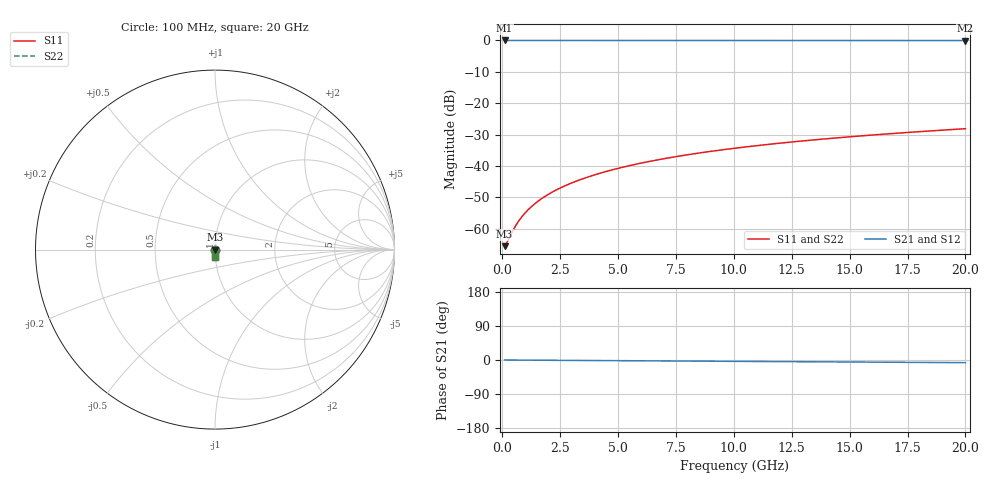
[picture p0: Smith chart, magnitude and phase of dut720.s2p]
! Touchstone file exported from HFSS 2026.1.0
!  File:  C:/ffzhzh/LocalFiles/Ansys_Project_Files/temp_train_TSV_720_1783182267_18472.aedt
!  Generated:  12:25:54 AM Jul  5, 2026
!  Design:  TSV
!  Project:  temp_train_TSV_720_1783182267_18472
! Variables:
!  h_bsmrdl = 2um
!  h_ox = 20um
!  h_rdl = 5um
!  h_sub = 72.73um
!  h_tmrdl = 5um
!  h_tsv = 72.73um
!  h_via = 3um
!  l_bsmrdl = 300um
!  l_sub = 408.38um
!  l_tmrdl = 200um
!  m_sub = 200um
!  pitch = 12.57um
!  r_tsv = 4.19um
!  s_tmrdl = 10um
!  w_bsmrdl = 18um
!  w_sub = 500um
!  w_tmrdl = 12um
!  x_tsv_center1 = 206um
!  x_tsv_center2 = 524um
!  x_tsv_center3 = 736um
!  x_tsv_center4 = 1054um
!  x_tsv_center5 = 1266um
!  x_tsv_center6 = 1584um
# GHz S MA R 50.000000
! Terminal data exported
! Port[1] = TSV1_1_T1
! Port[2] = TSV1_1_T2
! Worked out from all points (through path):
!   200 points, 100 MHz to 20 GHz, reference 50 ohm
!   highest |S21| = 0.00 dB at 100 MHz (marker M1); lowest = 0.0 dB at 20 GHz (marker M2)
!   lowest |S11| = -65.5 dB at 100 MHz (marker M3), VSWR 1.00, Z = 50.1 - j0.0128 ohm
!   |S11| at or under -10 dB: start of sweep to end of sweep
!   |S22| runs from -65.5 to -28.1 dB; largest |S21 - S12| = 3e-15
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0.1  0.0005302 -14.0  0.9995 -0.0  0.9995 -0.0  0.0005302 -14.0
! Gamma 0 0 0 0
! Port Impedance 50 0 50 0
0.2  0.0006084 -26.5  0.9995 -0.1  0.9995 -0.1  0.0006084 -26.5
0.5  0.001003 -51.4  0.9994 -0.2  0.9994 -0.2  0.001003 -51.4
0.7  0.001319 -60.2  0.9993 -0.3  0.9993 -0.3  0.001319 -60.2
0.8  0.001483 -63.2  0.9993 -0.3  0.9993 -0.3  0.001483 -63.2
1  0.001819 -67.8  0.9993 -0.4  0.9993 -0.4  0.001819 -67.8
1.3  0.002334 -72.2  0.9993 -0.5  0.9993 -0.5  0.002334 -72.2
1.5  0.002683 -74.2  0.9992 -0.5  0.9992 -0.5  0.002683 -74.2
1.7  0.003035 -75.7  0.9992 -0.6  0.9992 -0.6  0.003035 -75.7
2.2  0.003928 -78.3  0.9991 -0.8  0.9991 -0.8  0.003928 -78.3
2.8  0.005021 -80.2  0.999 -1.0  0.999 -1.0  0.005021 -80.2
3.5  0.006323 -81.6  0.9989 -1.3  0.9989 -1.3  0.006323 -81.6
4.2  0.007651 -82.6  0.9988 -1.5  0.9988 -1.5  0.007651 -82.6
5  0.009195 -83.5  0.9986 -1.8  0.9986 -1.8  0.009195 -83.5
5.9  0.01096 -84.4  0.9985 -2.1  0.9985 -2.1  0.01096 -84.4
6.8  0.01274 -85.2  0.9983 -2.4  0.9983 -2.4  0.01274 -85.2
8.3  0.01573 -86.4  0.9981 -3.0  0.9981 -3.0  0.01573 -86.4
10.1  0.01935 -87.6  0.9978 -3.6  0.9978 -3.6  0.01935 -87.6
11.7  0.02257 -88.6  0.9976 -4.1  0.9976 -4.1  0.02257 -88.6
13.4  0.02599 -89.6  0.9974 -4.7  0.9974 -4.7  0.02599 -89.6
16.7  0.03265 -91.3  0.9969 -5.9  0.9969 -5.9  0.03265 -91.3
20  0.03932 -92.9  0.9964 -7.0  0.9964 -7.0  0.03932 -92.9
